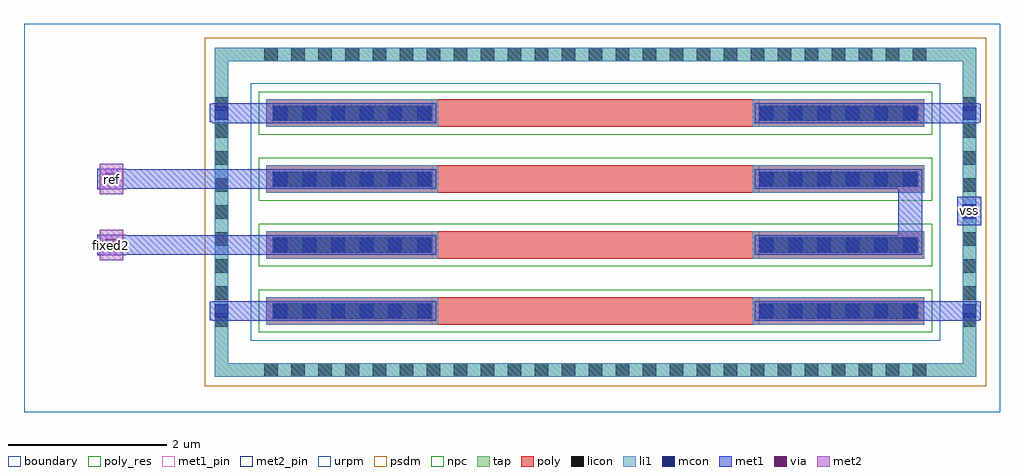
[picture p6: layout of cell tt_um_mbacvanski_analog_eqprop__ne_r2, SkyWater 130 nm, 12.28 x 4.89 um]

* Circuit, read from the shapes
.subckt tt_um_mbacvanski_analog_eqprop__ne_r2 fixed2 ref vss
XR1 vss vss vss sky130_fd_pr__res_xhigh_po w=0.35 l=4 m=2
XR2 tt_um_mbacvanski_analog_eqprop__ne_r2_xpoly_0/R1_1 fixed2 vss sky130_fd_pr__res_xhigh_po w=0.35 l=4
XR3 tt_um_mbacvanski_analog_eqprop__ne_r2_xpoly_0/R1_1 ref vss sky130_fd_pr__res_xhigh_po w=0.35 l=4
.ends

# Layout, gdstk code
from math import pi, radians
import gdstk
lib = gdstk.Library(unit=1e-6, precision=1e-09)
def R(c, l, rs):  # rectangles x0, y0, x1, y1
    for r in rs: c.add(gdstk.rectangle(r[:2], r[2:], *l))
def A(c, l, x, y, w, h, nx, ny, dx, dy):  # array of equal rectangles
    R(c, l, [(x+i*dx, y+j*dy, x+i*dx+w, y+j*dy+h) for i in range(nx) for j in range(ny)])
tap = (65, 44)
poly_res = (66, 13)
poly = (66, 20)
licon = (66, 44)
li1 = (67, 20)
mcon = (67, 44)
met1_pin = (68, 16)
met1 = (68, 20)
via = (68, 44)
met2_pin = (69, 16)
met2 = (69, 20)
urpm = (79, 20)
psdm = (94, 20)
npc = (95, 20)
boundary = (235, 4)

tt_um_mbacvanski_analog_ = lib.new_cell('tt_um_mbacvanski_analog_eqprop__ne_r2_xpoly')
A(tt_um_mbacvanski_analog_, poly_res, -1.42, -2.06, 0.35, 4.12, 4, 1, 0.83, 0)
A(tt_um_mbacvanski_analog_, poly, -1.42, -4.14, 0.35, 8.28, 4, 1, 0.83, 0)
A(tt_um_mbacvanski_analog_, licon, -1.34, -4.06, 0.19, 2, 4, 2, 0.83, 6.12)
A(tt_um_mbacvanski_analog_, li1, -1.42, -4.14, 0.35, 2.16, 4, 2, 0.83, 6.12)
A(tt_um_mbacvanski_analog_, mcon, -1.33, -4.045, 0.17, 0.17, 4, 6, 0.83, 0.36)
A(tt_um_mbacvanski_analog_, mcon, -1.33, 2.07, 0.17, 0.17, 4, 6, 0.83, 0.36)
A(tt_um_mbacvanski_analog_, met1, -1.37, -4.11, 0.25, 2.105, 4, 2, 0.83, 6.115)
R(tt_um_mbacvanski_analog_, urpm, [(-1.62,-4.34,1.62,4.34)])
R(tt_um_mbacvanski_analog_, psdm, [(-1.53,-4.25,1.53,4.25)])
A(tt_um_mbacvanski_analog_, npc, -1.515, -4.235, 0.54, 8.47, 4, 1, 0.83, 0)
tt_um_mbacvanski_analog_.add(gdstk.Label('R2_3', (1.245,-3.965), layer=67, texttype=5))
tt_um_mbacvanski_analog_.add(gdstk.Label('R2_2', (0.415,-3.965), layer=67, texttype=5))
tt_um_mbacvanski_analog_.add(gdstk.Label('R1_2', (0.415,3.965), layer=67, texttype=5))
tt_um_mbacvanski_analog_.add(gdstk.Label('R2_1', (-0.415,-3.965), layer=67, texttype=5))
tt_um_mbacvanski_analog_.add(gdstk.Label('R1_1', (-0.415,3.965), layer=67, texttype=5))
tt_um_mbacvanski_analog_.add(gdstk.Label('R2_0', (-1.245,-3.965), layer=67, texttype=5))
tt_um_mbacvanski_analog_.add(gdstk.Label('R1_3', (1.245,3.965), layer=67, texttype=5))
tt_um_mbacvanski_analog_.add(gdstk.Label('R1_0', (-1.245,3.965), layer=67, texttype=5))

c_tt_um_mbacvanski_analog_ = lib.new_cell('tt_um_mbacvanski_analog_eqprop__ne_r2')
R(c_tt_um_mbacvanski_analog_, tap, [(2.4,0.45,11.98,0.62), (2.4,0.62,2.57,4.42), (11.81,0.62,11.98,4.42), (2.4,4.42,11.98,4.59)])
A(c_tt_um_mbacvanski_analog_, licon, 3.025, 0.45, 0.17, 0.17, 25, 2, 0.34, 3.97)
A(c_tt_um_mbacvanski_analog_, licon, 2.4, 1.075, 0.17, 0.17, 1, 9, 0, 0.34)
A(c_tt_um_mbacvanski_analog_, licon, 11.81, 1.075, 0.17, 0.17, 1, 9, 0, 0.34)
R(c_tt_um_mbacvanski_analog_, li1, [(2.4,0.45,11.98,0.62), (2.4,0.62,2.57,4.42), (11.81,0.62,11.98,4.42), (2.4,4.42,11.98,4.59)])
R(c_tt_um_mbacvanski_analog_, mcon, [(2.4,1.19,2.57,1.36), (11.81,1.19,11.98,1.36), (11.81,2.45,11.98,2.62), (2.4,3.68,2.57,3.85), (11.81,3.68,11.98,3.85)])
R(c_tt_um_mbacvanski_analog_, met1_pin, [(11.845,2.485,11.945,2.585)])
R(c_tt_um_mbacvanski_analog_, met1, [(2.37,1.15,3.18,1.16), (11.2,1.15,12.01,1.16), (2.34,1.16,3.18,1.39), (11.2,1.16,12.04,1.39), (2.37,1.39,3.18,1.4), (11.2,1.39,12.01,1.4), (0.92,1.975,1.28,1.98), (0.92,1.98,3.2,2.23), (11,1.98,11.3,3.06), (0.92,2.23,1.28,2.235), (11.745,2.355,12.045,2.715), (0.92,2.805,1.28,2.81), (0.92,2.81,3.2,3.06), (0.92,3.06,1.28,3.065), (2.37,3.64,3.18,3.65), (11.2,3.64,12.01,3.65), (2.34,3.65,3.18,3.88), (11.2,3.65,12.04,3.88), (2.37,3.88,3.18,3.89), (11.2,3.88,12.01,3.89)])
R(c_tt_um_mbacvanski_analog_, via, [(1.025,2.03,1.175,2.18), (1.025,2.86,1.175,3.01)])
R(c_tt_um_mbacvanski_analog_, met2_pin, [(1.05,2.055,1.15,2.155), (1.05,2.885,1.15,2.985)])
R(c_tt_um_mbacvanski_analog_, met2, [(0.95,1.915,1.25,2.295), (0.95,2.745,1.25,3.125)])
R(c_tt_um_mbacvanski_analog_, psdm, [(2.275,0.325,12.105,0.99), (2.275,0.99,2.94,4.05), (11.44,0.99,12.105,4.05), (2.275,4.05,12.105,4.715)])
R(c_tt_um_mbacvanski_analog_, boundary, [(0,0,12.28,4.89)])
c_tt_um_mbacvanski_analog_.add(gdstk.Reference(tt_um_mbacvanski_analog_, (7.19,2.52), rotation=3*pi/2))
c_tt_um_mbacvanski_analog_.add(gdstk.Label('vss', (11.895,2.535), layer=68, texttype=5))
c_tt_um_mbacvanski_analog_.add(gdstk.Label('fixed2', (1.1,2.105), layer=69, texttype=5))
c_tt_um_mbacvanski_analog_.add(gdstk.Label('ref', (1.1,2.935), layer=69, texttype=5))

lib.write_gds('tt_um_mbacvanski_analog_eqprop__ne_r2.gds')
